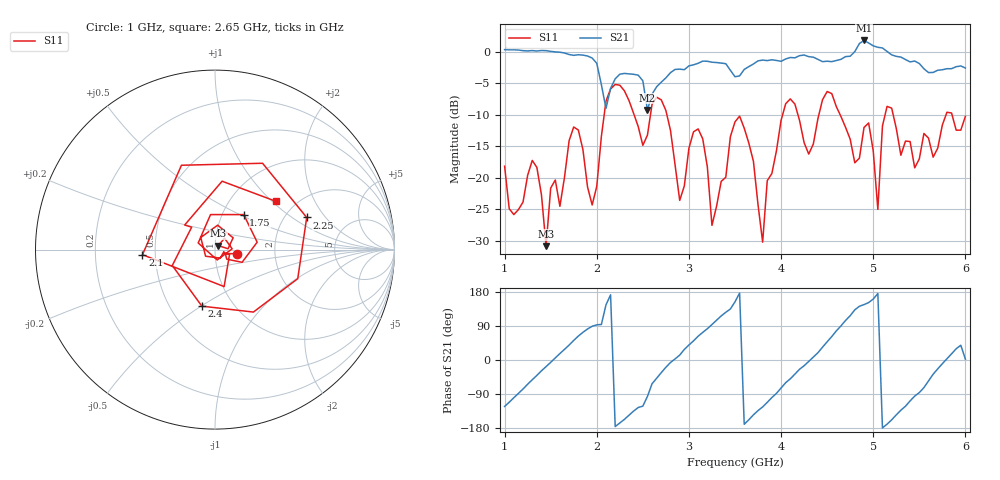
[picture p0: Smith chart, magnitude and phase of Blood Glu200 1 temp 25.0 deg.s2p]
! NanoVNA-App
! Date: 2024-03-21 16:17:58
! Start: 1GHz Stop: 6GHz Points: 101
! S-Parameter data: F S11 S21 S12 S22
# Hz S RI R 50
!	Frequency	S11_Real	S11_Imag	S21_Real	S21_Imag	S12_Real	S12_Imag	S22_Real	S22_Imag
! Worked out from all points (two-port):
!   101 points, 1 GHz to 6 GHz, reference 50 ohm
!   highest |S21| = 1.78 dB at 4.9 GHz (marker M1); lowest = -9.2 dB at 2.55 GHz (marker M2)
!   |S21| within 3 dB of the highest: start of sweep to 1.962 GHz; 4.65 GHz to 5.346 GHz (695.7 MHz wide, 13.9 % of centre)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
!   lowest |S11| = -30.9 dB at 1.45 GHz (marker M3), VSWR 1.06, Z = 51.8 + j2.31 ohm
!   |S11| at or under -10 dB: start of sweep to 2.081 GHz; 2.76 GHz to 4.017 GHz (1.257 GHz wide, 37.1 % of centre); 5.216 GHz to 5.791 GHz (574.6 MHz wide, 10.4 % of centre)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
!   S12 and S22 are empty: the file has one direction only
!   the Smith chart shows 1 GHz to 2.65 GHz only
!   S11 on the Smith chart (normalised r, x): 1 GHz: 1.27, -0.06; 1.75 GHz: 1.26, +0.52; 2.1 GHz: 0.42, -0.03; 2.25 GHz: 2.61, +1.32; 2.4 GHz: 0.72, -0.50; 2.65 GHz: 1.61, +1.06
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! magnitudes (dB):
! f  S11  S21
! 1 GHz  -18.2  0.3
! 1.45 GHz  -30.9  0.2
! 1.75 GHz  -12.0  -0.6
! 1.85 GHz  -15.6  -0.5
! 1.95 GHz  -24.4  -1.0
! 2.1 GHz  -7.9  -9.0
! 2.25 GHz  -5.3  -3.6
! 2.4 GHz  -9.8  -3.6
! 2.55 GHz  -13.2  -9.2
! 2.65 GHz  -7.2  -5.6
! 2.7 GHz  -7.7  -4.8
! 2.9 GHz  -23.6  -2.8
! 3.15 GHz  -13.8  -1.5
! 3.25 GHz  -27.6  -1.7
! 3.5 GHz  -11.1  -4.0
! 3.8 GHz  -30.3  -1.3
! 4.05 GHz  -8.3  -1.2
! 4.35 GHz  -14.7  -0.9
! 4.9 GHz  -12.0  1.8
! 5.05 GHz  -25.0  0.7
! 5.2 GHz  -9.0  -0.5
! 6 GHz  -10.3  -2.6
